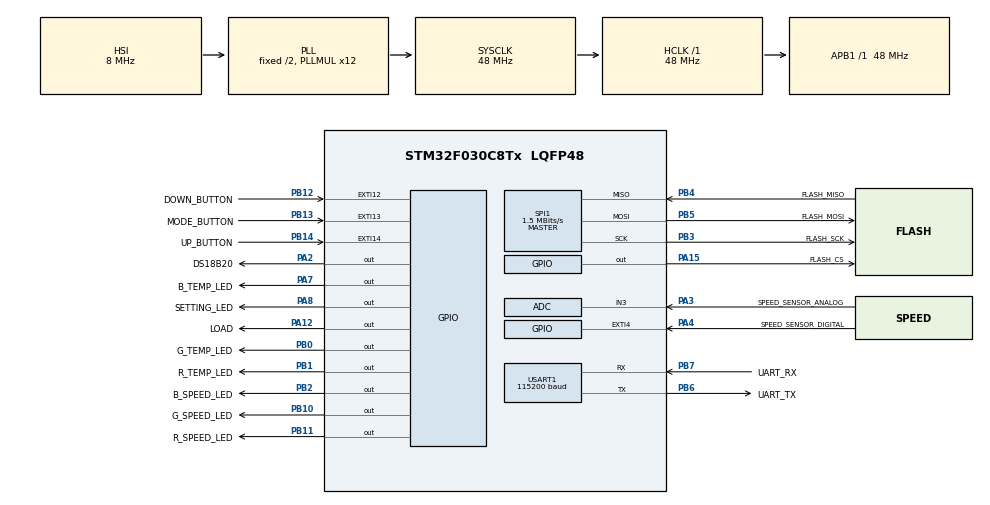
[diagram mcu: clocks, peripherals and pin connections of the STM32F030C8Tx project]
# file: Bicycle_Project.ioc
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Mcu.Family=STM32F0
Mcu.Name=STM32F030C8Tx
Mcu.Package=LQFP48
NVIC.EXTI4_15_IRQn=true\:0\:0\:false\:false\:true\:true\:true\:true
NVIC.USART1_IRQn=true\:0\:0\:false\:false\:true\:true\:true\:true
PA12.GPIO_Label=LOAD
PA12.PinState=GPIO_PIN_RESET
PA12.Signal=GPIO_Output
PA15.GPIO_Label=FLASH_CS
PA15.Signal=GPIO_Output
PA2.GPIO_Label=DS18B20
PA2.Signal=GPIO_Output
PA3.GPIO_Label=SPEED_SENSOR_ANALOG
PA3.Mode=IN3
PA3.Signal=ADC_IN3
PA4.GPIO_Label=SPEED_SENSOR_DIGITAL
PA4.GPIO_ModeDefaultEXTI=GPIO_MODE_IT_FALLING
PA4.Signal=GPXTI4
PA7.GPIO_Label=B_TEMP_LED
PA7.PinState=GPIO_PIN_RESET
PA7.Signal=GPIO_Output
PA8.GPIO_Label=SETTING_LED
PA8.Signal=GPIO_Output
PB0.GPIO_Label=G_TEMP_LED
PB0.PinState=GPIO_PIN_RESET
PB0.Signal=GPIO_Output
PB1.GPIO_Label=R_TEMP_LED
PB1.PinState=GPIO_PIN_RESET
PB1.Signal=GPIO_Output
PB10.GPIO_Label=G_SPEED_LED
PB10.Signal=GPIO_Output
PB11.GPIO_Label=R_SPEED_LED
PB11.Signal=GPIO_Output
PB12.GPIO_Label=DOWN_BUTTON
PB12.Signal=GPXTI12
PB13.GPIO_Label=MODE_BUTTON
PB13.Signal=GPXTI13
PB14.GPIO_Label=UP_BUTTON
PB14.Signal=GPXTI14
PB2.GPIO_Label=B_SPEED_LED
PB2.Signal=GPIO_Output
PB3.GPIO_Label=FLASH_SCK
PB3.Mode=Full_Duplex_Master
PB3.Signal=SPI1_SCK
PB4.GPIO_Label=FLASH_MISO
PB4.Mode=Full_Duplex_Master
PB4.Signal=SPI1_MISO
PB5.GPIO_Label=FLASH_MOSI
PB5.Mode=Full_Duplex_Master
PB5.Signal=SPI1_MOSI
PB6.GPIO_Label=UART_TX
PB6.Mode=Asynchronous
PB6.Signal=USART1_TX
PB7.GPIO_Label=UART_RX
PB7.Mode=Asynchronous
PB7.Signal=USART1_RX
ProjectManager.HeapSize=0x200
ProjectManager.StackSize=0x400
ProjectManager.TargetToolchain=STM32CubeIDE
RCC.AHBFreq_Value=48000000
RCC.APB1Freq_Value=48000000
RCC.APB1TimFreq_Value=48000000
RCC.HCLKFreq_Value=48000000
RCC.PLLMUL=RCC_PLL_MUL12
RCC.SYSCLKFreq_VALUE=48000000
RCC.SYSCLKSource=RCC_SYSCLKSOURCE_PLLCLK
SPI1.BaudRatePrescaler=SPI_BAUDRATEPRESCALER_32
SPI1.CalculateBaudRate=1.5 MBits/s
SPI1.DataSize=SPI_DATASIZE_8BIT
SPI1.Direction=SPI_DIRECTION_2LINES
SPI1.Mode=SPI_MODE_MASTER
SPI1.VirtualType=VM_MASTER
TIM3.Period=0xFFFF-1
TIM3.Prescaler=48-1
USART1.BaudRate=115200
USART1.VirtualMode-Asynchronous=VM_ASYNC
VP_TIM3_VS_ClockSourceINT.Mode=Internal
board=custom

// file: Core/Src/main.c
/* USER CODE BEGIN Header */
/**
  ******************************************************************************
  * @file           : main.c
  * @brief          : Main program body
  ******************************************************************************
  * @attention
  *
  * Copyright (c) 2024 STMicroelectronics.
  * All rights reserved.
  *
  * This software is licensed under terms that can be found in the LICENSE file
  * in the root directory of this software component.
  * If no LICENSE file comes with this software, it is provided AS-IS.
  *
  ******************************************************************************
  */
/* USER CODE END Header */
#include "main.h"

ADC_HandleTypeDef hadc;

SPI_HandleTypeDef hspi1;

TIM_HandleTypeDef htim3;

UART_HandleTypeDef huart1;

/* USER CODE BEGIN PV */
ring_buffer_t rb_usart1;
uint8_t rb_buffer_usart1[CAPACITY_USART1];
uint8_t data_usart1_rx;
uint8_t data_rb_usart1;
uint8_t buffer_usart1_rx[CAPACITY_BUFFER_USART1_RX];
uint8_t read_buffer_ring_counter;

uint8_t key[CAPACITY_KEY];
uint8_t value_str[CAPACITY_VALUE];
double value_decimal;

uint8_t transmit_text[CAPACITY_TRANSMIT_TEXT];
uint8_t size_to_send;

uint32_t temperature_printing_control;

RGB_LEDS_struct_t parameter_RGB_leds;

boolean_enum key_flag;
boolean_enum new_parameter_to_set_flag;

float temperature;
float temperature_mean;
uint8_t counter_for_mean;
float values_for_mean[MAX_MEASURES_OF_TEMPERATURE_FOR_MEAN];
int8_t min_red_temperature;
int8_t max_red_temperature;
int8_t min_green_temperature;
int8_t max_green_temperature;
int8_t min_blue_temperature;
int8_t max_blue_temperature;
/* USER CODE END PV */

void SystemClock_Config(void);
static void MX_GPIO_Init(void);
static void MX_SPI1_Init(void);
static void MX_TIM3_Init(void);
static void MX_USART1_UART_Init(void);
static void MX_ADC_Init(void);
/* USER CODE BEGIN PFP */
void print_temperature(void);
void update_temperature_indicator(void);
void set_value_received(void);
void calculate_mean_temperature(void);
/* USER CODE END PFP */

/* USER CODE BEGIN 0 */
//int _write(int file, char *ptr, int len)
//{
//  HAL_UART_Transmit(&huart1, (uint8_t *)ptr, len, MAX_TIME_WAIT_TO_TRANSMIT);
//  return len;
//}

void HAL_UART_RxCpltCallback(UART_HandleTypeDef *huart)
{
	if (huart->Instance == USART1) {
		data_usart1_rx = USART1->RDR;
		ring_buffer_write(&rb_usart1, data_usart1_rx);
		HAL_UART_Receive_IT(&huart1, &data_usart1_rx, 1);
	}
}

void set_value_received()
{
	boolean_enum error_value = False;

	if(!strcmp((const char *)&key, (const char *)ID_TEMP_MIN_RED_LED))
	{
		if((value_decimal >= max_green_temperature) && (value_decimal < max_red_temperature))
		{
			min_red_temperature = (int8_t)value_decimal;
		}else{error_value = True;}

	}else if(!strcmp((const char *)&key, (const char *)ID_TEMP_MAX_RED_LED))
		{
			if((value_decimal > min_red_temperature) && (value_decimal <= MAX_TEMPERATURE_MEASURE_DS18B20_SENSOR))
			{
				max_red_temperature = (int8_t)value_decimal;
			}else{error_value = True;}
		}else if(!strcmp((const char *)&key, (const char *)ID_TEMP_MIN_GREEN_LED))
			{
				if((value_decimal >= max_blue_temperature) && (value_decimal < max_green_temperature))
				{
					min_green_temperature = (int8_t)value_decimal;
				}else{error_value = True;}
			}else if(!strcmp((const char *)&key, (const char *)ID_TEMP_MAX_GREEN_LED))
				{
					if((value_decimal > min_green_temperature) && (value_decimal <= min_red_temperature))
					{
						max_green_temperature = (int8_t)value_decimal;
					}else{error_value = True;}
				}else if(!strcmp((const char *)&key, (const char *)ID_TEMP_MIN_BLUE_LED))
					{
						if((value_decimal >= MIN_TEMPERATURE_MEASURE_DS18B20_SENSOR) && (value_decimal < max_blue_temperature))
						{
							min_blue_temperature = (int8_t)value_decimal;
						}else{error_value = True;}
					}else if(!strcmp((const char *)&key, (const char *)ID_TEMP_MAX_BLUE_LED))
						{
							if((value_decimal > min_blue_temperature) && (value_decimal <= min_green_temperature))
							{
								max_blue_temperature = (int8_t)value_decimal;
							}else{error_value = True;}
						}

	if(error_value == True)
	{
		size_to_send = sprintf((char *)&transmit_text, "\r\n---------------\r\n!Error configuring the value, verify the ranges!\r\n---------------\r\n");
	}else{
		size_to_send = sprintf((char *)&transmit_text, "\r\n---------------\r\n%s=%d configured successfully!\r\n---------------\r\n", (char *)&key, (int)value_decimal);
	}

	HAL_UART_Transmit(&huart1, (const uint8_t *)&transmit_text, size_to_send, MAX_TIME_WAIT_TO_TRANSMIT);
	new_parameter_to_set_flag = False;
}

void print_temperature()
{
	temperature = DS18B20_Get_temperature();
	size_to_send = sprintf((char *)&transmit_text, "Temperature = %0.2f °C \r\n", temperature);
	HAL_UART_Transmit(&huart1, (const uint8_t *)&transmit_text, size_to_send, 500);

	values_for_mean[counter_for_mean-1] = temperature;

	temperature_printing_control = HAL_GetTick();
}

void update_temperature_indicator()
{
	if((temperature >= min_blue_temperature) && (temperature <= max_blue_temperature)){
		RGB_BLUE_ON(TEMPERATURE);
	}else if((temperature > min_green_temperature) && (temperature <= max_green_temperature)){
		RGB_GREEN_ON(TEMPERATURE);
	}else if((temperature > min_red_temperature) && (temperature <= max_red_temperature)){
		RGB_RED_ON(TEMPERATURE);
	}else{
		RGB_ALL_OFF(TEMPERATURE);
	}
}

void calculate_mean_temperature()
{
	float temporal_temperature_mean = 0;

	for(int i=0; i<MAX_MEASURES_OF_TEMPERATURE_FOR_MEAN; i++)
	{
	 temporal_temperature_mean += values_for_mean[i];
	}
	temperature_mean = temporal_temperature_mean/MAX_MEASURES_OF_TEMPERATURE_FOR_MEAN;

	size_to_send = sprintf((char *)&transmit_text, "Mean temperature= %0.2f\r\n", temperature_mean);
	HAL_UART_Transmit(&huart1, (const uint8_t *)&transmit_text, size_to_send, MAX_TIME_WAIT_TO_TRANSMIT);
	counter_for_mean = 0;
	memset(&values_for_mean, 0, sizeof(values_for_mean));
}

/* USER CODE END 0 */

int main(void)
{

  /* MCU Configuration--------------------------------------------------------*/

  /* Reset of all peripherals, Initializes the Flash interface and the Systick. */
  HAL_Init();

  /* Configure the system clock */
  SystemClock_Config();

  /* Initialize all configured peripherals */
  MX_GPIO_Init();
  MX_SPI1_Init();
  MX_TIM3_Init();
  MX_USART1_UART_Init();
  MX_ADC_Init();
  /* USER CODE BEGIN 2 */

  HAL_TIM_Base_Start_IT(&htim3);
  DS18B20_Init(htim3, DS18B20_GPIO_Port, DS18B20_Pin);

  parameter_RGB_leds.RED_Speed_Port = R_SPEED_LED_GPIO_Port;
  parameter_RGB_leds.RED_Speed_Pin = R_SPEED_LED_Pin;
  parameter_RGB_leds.GREEN_Speed_Port = G_SPEED_LED_GPIO_Port;
  parameter_RGB_leds.GREEN_Speed_Pin = G_SPEED_LED_Pin;
  parameter_RGB_leds.BLUE_Speed_Port = B_SPEED_LED_GPIO_Port;
  parameter_RGB_leds.BLUE_Speed_Pin = B_SPEED_LED_Pin;

  parameter_RGB_leds.RED_Temperature_Port = R_TEMP_LED_GPIO_Port;
  parameter_RGB_leds.RED_Temperature_Pin = R_TEMP_LED_Pin;
  parameter_RGB_leds.GREEN_Temperature_Port = G_TEMP_LED_GPIO_Port;
  parameter_RGB_leds.GREEN_Temperature_Pin = G_TEMP_LED_Pin;
  parameter_RGB_leds.BLUE_Temperature_Port = B_TEMP_LED_GPIO_Port;
  parameter_RGB_leds.BLUE_Temperature_Pin = B_TEMP_LED_Pin;

  RGB_Init(parameter_RGB_leds);

  ring_buffer_init(&rb_usart1, rb_buffer_usart1, CAPACITY_USART1);
  HAL_UART_Receive_IT(&huart1, &data_usart1_rx, 1);

  key_flag = False;
  new_parameter_to_set_flag = False;
  read_buffer_ring_counter = 0;
  value_decimal = 0;

  temperature = 0;
  temperature_mean = 0;
  counter_for_mean = 0;
  min_blue_temperature = 0;
  max_blue_temperature = 10;
  min_green_temperature = 10;
  max_green_temperature = 20;
  min_red_temperature = 20;
  max_red_temperature = 30;

  /* USER CODE END 2 */

  /* Infinite loop */
  /* USER CODE BEGIN WHILE */
  while (1)
  {

	  /*
	   *Check if UART have any data and separate the key and
	   *value for validation
	   */
	  if(ring_buffer_is_empty(&rb_usart1) != 1)						//Si el buffer de rb_usart1 tiene datos para leer
	  {
		  ring_buffer_read(&rb_usart1, &data_rb_usart1);			//lee un dato del buffer

		  /*
		   * Si detecta que el dato leído es igual al caracter "="
		   * Porcede a guardar lo que se encuentre en el arreglo
		   * buffer_usart1_rx en la variable "key"
		   */
		  if((data_rb_usart1 == '=') && (key_flag == False))
		  {
			  memset(&key, 0, sizeof(key));
			  strcpy((char *)&key, (const char *)&buffer_usart1_rx);

			  memset(&buffer_usart1_rx, 0, sizeof(buffer_usart1_rx));
			  read_buffer_ring_counter = 0;
			  key_flag = True;

			  size_to_send = sprintf((char *)&transmit_text, "UART received: Key= %s\t", key);
	  		  HAL_UART_Transmit(&huart1, (const uint8_t *)&transmit_text, size_to_send, MAX_TIME_WAIT_TO_TRANSMIT);

			  continue;
		  }

		  buffer_usart1_rx[read_buffer_ring_counter] = data_rb_usart1;	//Va llenando un nuevo arreglo con el dato leído dle buffer

		  /*
		   * Cuando ya no hay datos para leer, procede a guardar el arrelo
		   * buffer_usart1_rx en la variable value
		   */
		  if(ring_buffer_size(&rb_usart1) == 0 && key_flag == True)
		  {
			  value_decimal = 0;
			  memset(&value_str, 0, sizeof(value_str));
			  strcpy((char *)&value_str, (const char *)&buffer_usart1_rx);

			  for(int i = 0; i<strlen((const char *)value_str); i++)
			  {
				  value_decimal += (value_str[i]-'0') * pow(10, (strlen((const char *)value_str)-1-i));
			  }

			  memset(&buffer_usart1_rx, 0, sizeof(buffer_usart1_rx));
			  read_buffer_ring_counter = 0;
			  key_flag = False;

			  size_to_send = sprintf((char *)&transmit_text, "Value= %s\r\n", value_str);
			  HAL_UART_Transmit(&huart1, (const uint8_t *)&transmit_text, size_to_send, MAX_TIME_WAIT_TO_TRANSMIT);

			  new_parameter_to_set_flag = True;
			  continue;
		  }

		  read_buffer_ring_counter ++; //Va aumentando el contador de control del arreglo buffer_usart1_rx
	  }

	  /*
	   * After receive a new value, it sets it in the corresponding variable
	   */
	  if(new_parameter_to_set_flag == True)
	  {
		  set_value_received();
	  }

	  /*
	  *Wait a time specified in WAIT_TEMPERATURE_PRINT and
	  *temperature print
	  */
	  if(HAL_GetTick() - temperature_printing_control >= WAIT_TEMPERATURE_PRINT)
	  {
		 counter_for_mean++;

		 print_temperature();
		 update_temperature_indicator();

		 if(counter_for_mean == MAX_MEASURES_OF_TEMPERATURE_FOR_MEAN)
		 {
			 calculate_mean_temperature();
		 }

	  }

    /* USER CODE END WHILE */

  }
}

void SystemClock_Config(void)
{
  RCC_OscInitTypeDef RCC_OscInitStruct = {0};
  RCC_ClkInitTypeDef RCC_ClkInitStruct = {0};
  RCC_PeriphCLKInitTypeDef PeriphClkInit = {0};

  /** Initializes the RCC Oscillators according to the specified parameters
  * in the RCC_OscInitTypeDef structure.
  */
  RCC_OscInitStruct.OscillatorType = RCC_OSCILLATORTYPE_HSI|RCC_OSCILLATORTYPE_HSI14;
  RCC_OscInitStruct.HSIState = RCC_HSI_ON;
  RCC_OscInitStruct.HSI14State = RCC_HSI14_ON;
  RCC_OscInitStruct.HSICalibrationValue = RCC_HSICALIBRATION_DEFAULT;
  RCC_OscInitStruct.HSI14CalibrationValue = 16;
  RCC_OscInitStruct.PLL.PLLState = RCC_PLL_ON;
  RCC_OscInitStruct.PLL.PLLSource = RCC_PLLSOURCE_HSI;
  RCC_OscInitStruct.PLL.PLLMUL = RCC_PLL_MUL12;
  RCC_OscInitStruct.PLL.PREDIV = RCC_PREDIV_DIV1;
  if (HAL_RCC_OscConfig(&RCC_OscInitStruct) != HAL_OK)
  {
    Error_Handler();
  }

  /** Initializes the CPU, AHB and APB buses clocks
  */
  RCC_ClkInitStruct.ClockType = RCC_CLOCKTYPE_HCLK|RCC_CLOCKTYPE_SYSCLK
                              |RCC_CLOCKTYPE_PCLK1;
  RCC_ClkInitStruct.SYSCLKSource = RCC_SYSCLKSOURCE_PLLCLK;
  RCC_ClkInitStruct.AHBCLKDivider = RCC_SYSCLK_DIV1;
  RCC_ClkInitStruct.APB1CLKDivider = RCC_HCLK_DIV1;

  if (HAL_RCC_ClockConfig(&RCC_ClkInitStruct, FLASH_LATENCY_1) != HAL_OK)
  {
    Error_Handler();
  }
  PeriphClkInit.PeriphClockSelection = RCC_PERIPHCLK_USART1;
  PeriphClkInit.Usart1ClockSelection = RCC_USART1CLKSOURCE_PCLK1;
  if (HAL_RCCEx_PeriphCLKConfig(&PeriphClkInit) != HAL_OK)
  {
    Error_Handler();
  }
}

static void MX_ADC_Init(void)
{

  ADC_ChannelConfTypeDef sConfig = {0};

  /** Configure the global features of the ADC (Clock, Resolution, Data Alignment and number of conversion)
  */
  hadc.Instance = ADC1;
  hadc.Init.ClockPrescaler = ADC_CLOCK_ASYNC_DIV1;
  hadc.Init.Resolution = ADC_RESOLUTION_12B;
  hadc.Init.DataAlign = ADC_DATAALIGN_RIGHT;
  hadc.Init.ScanConvMode = ADC_SCAN_DIRECTION_FORWARD;
  hadc.Init.EOCSelection = ADC_EOC_SINGLE_CONV;
  hadc.Init.LowPowerAutoWait = DISABLE;
  hadc.Init.LowPowerAutoPowerOff = DISABLE;
  hadc.Init.ContinuousConvMode = DISABLE;
  hadc.Init.DiscontinuousConvMode = DISABLE;
  hadc.Init.ExternalTrigConv = ADC_SOFTWARE_START;
  hadc.Init.ExternalTrigConvEdge = ADC_EXTERNALTRIGCONVEDGE_NONE;
  hadc.Init.DMAContinuousRequests = DISABLE;
  hadc.Init.Overrun = ADC_OVR_DATA_PRESERVED;
  if (HAL_ADC_Init(&hadc) != HAL_OK)
  {
    Error_Handler();
  }

  /** Configure for the selected ADC regular channel to be converted.
  */
  sConfig.Channel = ADC_CHANNEL_3;
  sConfig.Rank = ADC_RANK_CHANNEL_NUMBER;
  sConfig.SamplingTime = ADC_SAMPLETIME_1CYCLE_5;
  if (HAL_ADC_ConfigChannel(&hadc, &sConfig) != HAL_OK)
  {
    Error_Handler();
  }

}

static void MX_SPI1_Init(void)
{

  /* SPI1 parameter configuration*/
  hspi1.Instance = SPI1;
  hspi1.Init.Mode = SPI_MODE_MASTER;
  hspi1.Init.Direction = SPI_DIRECTION_2LINES;
  hspi1.Init.DataSize = SPI_DATASIZE_8BIT;
  hspi1.Init.CLKPolarity = SPI_POLARITY_LOW;
  hspi1.Init.CLKPhase = SPI_PHASE_1EDGE;
  hspi1.Init.NSS = SPI_NSS_SOFT;
  hspi1.Init.BaudRatePrescaler = SPI_BAUDRATEPRESCALER_32;
  hspi1.Init.FirstBit = SPI_FIRSTBIT_MSB;
  hspi1.Init.TIMode = SPI_TIMODE_DISABLE;
  hspi1.Init.CRCCalculation = SPI_CRCCALCULATION_DISABLE;
  hspi1.Init.CRCPolynomial = 7;
  hspi1.Init.CRCLength = SPI_CRC_LENGTH_DATASIZE;
  hspi1.Init.NSSPMode = SPI_NSS_PULSE_ENABLE;
  if (HAL_SPI_Init(&hspi1) != HAL_OK)
  {
    Error_Handler();
  }

}

static void MX_TIM3_Init(void)
{

  TIM_ClockConfigTypeDef sClockSourceConfig = {0};
  TIM_MasterConfigTypeDef sMasterConfig = {0};

  htim3.Instance = TIM3;
  htim3.Init.Prescaler = 48-1;
  htim3.Init.CounterMode = TIM_COUNTERMODE_UP;
  htim3.Init.Period = 0xFFFF-1;
  htim3.Init.ClockDivision = TIM_CLOCKDIVISION_DIV1;
  htim3.Init.AutoReloadPreload = TIM_AUTORELOAD_PRELOAD_DISABLE;
  if (HAL_TIM_Base_Init(&htim3) != HAL_OK)
  {
    Error_Handler();
  }
  sClockSourceConfig.ClockSource = TIM_CLOCKSOURCE_INTERNAL;
  if (HAL_TIM_ConfigClockSource(&htim3, &sClockSourceConfig) != HAL_OK)
  {
    Error_Handler();
  }
  sMasterConfig.MasterOutputTrigger = TIM_TRGO_RESET;
  sMasterConfig.MasterSlaveMode = TIM_MASTERSLAVEMODE_DISABLE;
  if (HAL_TIMEx_MasterConfigSynchronization(&htim3, &sMasterConfig) != HAL_OK)
  {
    Error_Handler();
  }

}

static void MX_USART1_UART_Init(void)
{

  huart1.Instance = USART1;
  huart1.Init.BaudRate = 115200;
  huart1.Init.WordLength = UART_WORDLENGTH_8B;
  huart1.Init.StopBits = UART_STOPBITS_1;
  huart1.Init.Parity = UART_PARITY_NONE;
  huart1.Init.Mode = UART_MODE_TX_RX;
  huart1.Init.HwFlowCtl = UART_HWCONTROL_NONE;
  huart1.Init.OverSampling = UART_OVERSAMPLING_16;
  huart1.Init.OneBitSampling = UART_ONE_BIT_SAMPLE_DISABLE;
  huart1.AdvancedInit.AdvFeatureInit = UART_ADVFEATURE_NO_INIT;
  if (HAL_UART_Init(&huart1) != HAL_OK)
  {
    Error_Handler();
  }

}

static void MX_GPIO_Init(void)
{
  GPIO_InitTypeDef GPIO_InitStruct = {0};

  /* GPIO Ports Clock Enable */
  __HAL_RCC_GPIOA_CLK_ENABLE();
  __HAL_RCC_GPIOB_CLK_ENABLE();

  /*Configure GPIO pin Output Level */
  HAL_GPIO_WritePin(GPIOA, DS18B20_Pin|B_TEMP_LED_Pin|SETTING_LED_Pin|FLASH_CS_Pin, GPIO_PIN_RESET);

  /*Configure GPIO pin Output Level */
  HAL_GPIO_WritePin(GPIOB, G_TEMP_LED_Pin|R_TEMP_LED_Pin|B_SPEED_LED_Pin|G_SPEED_LED_Pin
                          |R_SPEED_LED_Pin, GPIO_PIN_RESET);

  /*Configure GPIO pin Output Level */
  HAL_GPIO_WritePin(LOAD_GPIO_Port, LOAD_Pin, GPIO_PIN_SET);

  /*Configure GPIO pins : DS18B20_Pin B_TEMP_LED_Pin SETTING_LED_Pin LOAD_Pin
                           FLASH_CS_Pin */
  GPIO_InitStruct.Pin = DS18B20_Pin|B_TEMP_LED_Pin|SETTING_LED_Pin|LOAD_Pin
                          |FLASH_CS_Pin;
  GPIO_InitStruct.Mode = GPIO_MODE_OUTPUT_PP;
  GPIO_InitStruct.Pull = GPIO_NOPULL;
  GPIO_InitStruct.Speed = GPIO_SPEED_FREQ_LOW;
  HAL_GPIO_Init(GPIOA, &GPIO_InitStruct);

  /*Configure GPIO pin : SPEED_SENSOR_DIGITAL_Pin */
  GPIO_InitStruct.Pin = SPEED_SENSOR_DIGITAL_Pin;
  GPIO_InitStruct.Mode = GPIO_MODE_INPUT;
  GPIO_InitStruct.Pull = GPIO_NOPULL;
  HAL_GPIO_Init(SPEED_SENSOR_DIGITAL_GPIO_Port, &GPIO_InitStruct);

  /*Configure GPIO pins : G_TEMP_LED_Pin R_TEMP_LED_Pin B_SPEED_LED_Pin G_SPEED_LED_Pin
                           R_SPEED_LED_Pin */
  GPIO_InitStruct.Pin = G_TEMP_LED_Pin|R_TEMP_LED_Pin|B_SPEED_LED_Pin|G_SPEED_LED_Pin
                          |R_SPEED_LED_Pin;
  GPIO_InitStruct.Mode = GPIO_MODE_OUTPUT_PP;
  GPIO_InitStruct.Pull = GPIO_NOPULL;
  GPIO_InitStruct.Speed = GPIO_SPEED_FREQ_LOW;
  HAL_GPIO_Init(GPIOB, &GPIO_InitStruct);

  /*Configure GPIO pins : DOWN_BUTTON_Pin MODE_BUTTON_Pin UP_BUTTON_Pin */
  GPIO_InitStruct.Pin = DOWN_BUTTON_Pin|MODE_BUTTON_Pin|UP_BUTTON_Pin;
  GPIO_InitStruct.Mode = GPIO_MODE_IT_RISING;
  GPIO_InitStruct.Pull = GPIO_NOPULL;
  HAL_GPIO_Init(GPIOB, &GPIO_InitStruct);

  /* EXTI interrupt init*/
  HAL_NVIC_SetPriority(EXTI4_15_IRQn, 0, 0);
  HAL_NVIC_EnableIRQ(EXTI4_15_IRQn);

}

void Error_Handler(void)
{
  __disable_irq();
  while (1)
  {
  }
}
